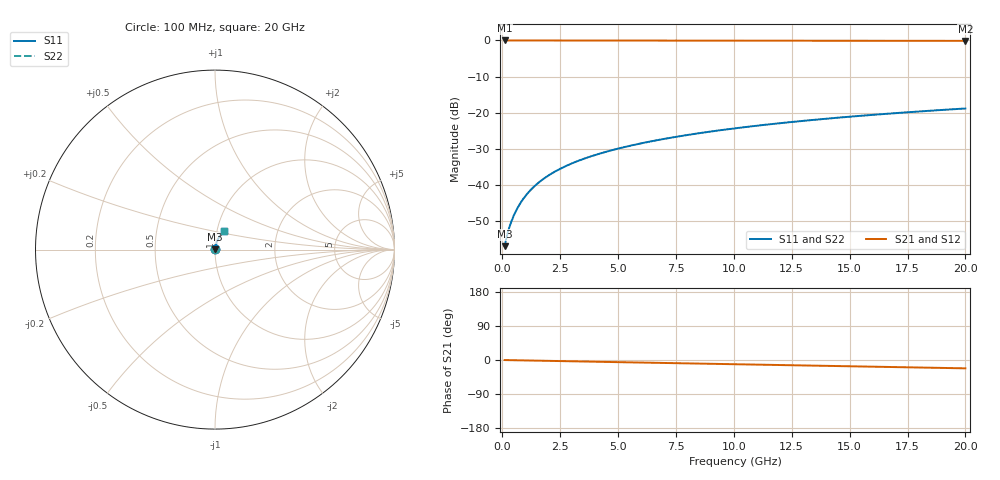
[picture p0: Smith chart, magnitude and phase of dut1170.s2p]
! Touchstone file exported from HFSS 2026.1.0
!  File:  C:/ffzhzh/LocalFiles/Ansys_Project_Files/temp_train_BSMRDL_1170_1783175968_55132.aedt
!  Generated:  10:40:40 PM Jul  4, 2026
!  Design:  BSMRDL
!  Project:  temp_train_BSMRDL_1170_1783175968_55132
! Variables:
!  h_bsmrdl = 5.9um
!  h_ox = 20um
!  h_rdl = 5um
!  h_sub = 80um
!  h_tmrdl = 5um
!  h_tsv = 80um
!  h_via = 3um
!  l_bsmrdl = 361.3um
!  l_sub = 761.3um
!  l_tmrdl = 200um
!  m_sub = 200um
!  pitch = 34.77um
!  r_tsv = 6um
!  s_tmrdl = 10um
!  w_bsmrdl = 22.61um
!  w_sub = 500um
!  w_tmrdl = 12um
!  x_tsv_center1 = 206um
!  x_tsv_center2 = 589.91um
!  x_tsv_center3 = 801.91um
!  x_tsv_center4 = 1185.82um
!  x_tsv_center5 = 1397.82um
!  x_tsv_center6 = 1781.73um
# GHz S MA R 50.000000
! Terminal data exported
! Port[1] = BSM_RDL1_1_T1
! Port[2] = BSM_RDL1_1_T2
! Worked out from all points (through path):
!   200 points, 100 MHz to 20 GHz, reference 50 ohm
!   highest |S21| = -0.01 dB at 100 MHz (marker M1); lowest = -0.1 dB at 20 GHz (marker M2)
!   group delay of S21, straight-line fit = 3.05 ps
!   lowest |S11| = -57.0 dB at 100 MHz (marker M3), VSWR 1.00, Z = 50.1 + j0.0834 ohm
!   |S11| at or under -10 dB: start of sweep to end of sweep
!   |S22| runs from -57.0 to -18.9 dB; largest |S21 - S12| = 3e-15
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0.1  0.001412 36.1  0.9989 -0.1  0.9989 -0.1  0.001412 36.1
! Gamma 0 0 0 0
! Port Impedance 50 0 50 0
0.2  0.001977 50.3  0.9987 -0.2  0.9987 -0.2  0.001977 50.3
0.3  0.002552 58.5  0.9986 -0.4  0.9986 -0.4  0.002553 58.5
0.4  0.003151 63.9  0.9986 -0.5  0.9986 -0.5  0.003151 63.9
0.5  0.003771 67.7  0.9985 -0.6  0.9985 -0.6  0.003771 67.7
0.6  0.004405 70.4  0.9985 -0.7  0.9985 -0.7  0.004405 70.4
0.8  0.005699 73.9  0.9984 -0.9  0.9984 -0.9  0.005699 73.9
1  0.007008 75.9  0.9983 -1.2  0.9983 -1.2  0.007008 75.9
1.2  0.00832 77.1  0.9982 -1.4  0.9982 -1.4  0.008319 77.1
1.4  0.009628 77.9  0.9981 -1.6  0.9981 -1.6  0.009628 77.9
1.7  0.01158 78.6  0.998 -2.0  0.998 -2.0  0.01158 78.6
2.2  0.01478 79.0  0.9977 -2.5  0.9977 -2.5  0.01478 79.0
2.8  0.01853 78.9  0.9973 -3.2  0.9973 -3.2  0.01853 78.9
3.5  0.02281 78.6  0.9968 -4.0  0.9968 -4.0  0.02281 78.6
4.2  0.027 78.2  0.9963 -4.8  0.9963 -4.8  0.027 78.2
5  0.03172 77.7  0.9958 -5.7  0.9958 -5.7  0.03172 77.7
6.8  0.04215 76.3  0.9947 -7.6  0.9947 -7.6  0.04215 76.3
8.3  0.05072 75.1  0.9938 -9.3  0.9938 -9.3  0.05072 75.1
10.1  0.06086 73.6  0.9927 -11.3  0.9927 -11.3  0.06087 73.6
13.4  0.07911 70.6  0.9905 -14.9  0.9905 -14.9  0.07911 70.6
16.7  0.09687 67.4  0.9882 -18.4  0.9882 -18.4  0.09687 67.4
20  0.1141 64.2  0.9858 -22.0  0.9858 -22.0  0.1141 64.2
